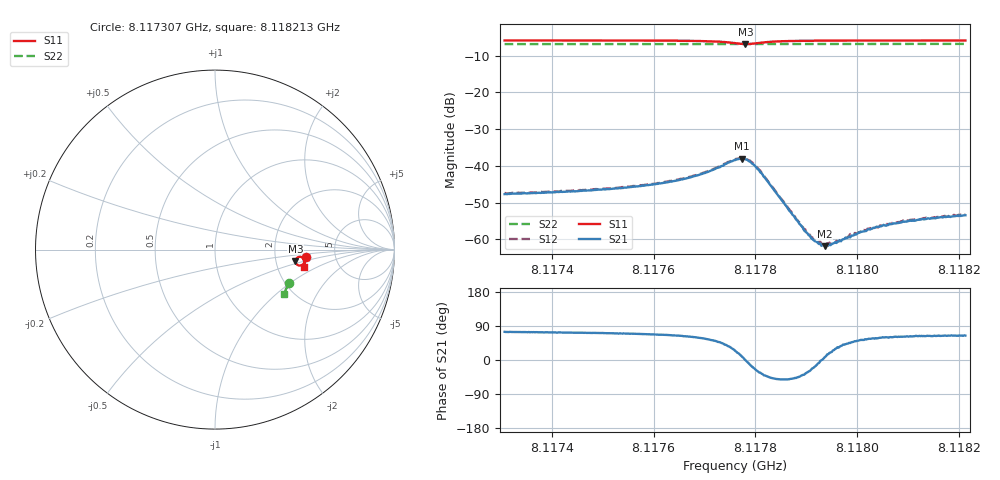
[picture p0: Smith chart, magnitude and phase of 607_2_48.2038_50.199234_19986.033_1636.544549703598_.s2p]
#  HZ  S  RI  R  50.00
! Rohde & Schwarz Vector Network Analyzer
! Rohde-Schwarz,ZNB20-2Port,1311601062101988,3.16
! Created: UTC 3/20/2024, 12:03:15 PM
! freq[Hz]  re:S11  im:S11  re:S21  im:S21  re:S12  im:S12  re:S22  im:S22
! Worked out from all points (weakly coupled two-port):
!   401 points, 8.117307 GHz to 8.118213 GHz, reference 50 ohm
!   highest |S21| = -38.03 dB at 8.117774 GHz (marker M1); lowest = -61.8 dB at 8.117937 GHz (marker M2)
!   lowest |S11| = -6.9 dB at 8.11778 GHz (marker M3), VSWR 2.65, Z = 129 - j20.7 ohm
!   |S11| at or under -10 dB: nowhere
!   |S22| runs from -6.9 to -6.8 dB; largest |S21 - S12| = 0.00047
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8.1173072e9  0.5055 -0.0386  0.00112 0.00398  0.00118 0.00411  0.4108 -0.1888
8.1174589e9  0.5037 -0.052  0.00142 0.00435  0.00147 0.00443  0.4068 -0.1986
8.1175404e9  0.5019 -0.06  0.00171 0.00471  0.00182 0.00482  0.4044 -0.2039
8.1176106e9  0.4996 -0.0682  0.00228 0.00531  0.00232 0.00535  0.4024 -0.2083
8.1176853e9  0.4928 -0.0799  0.00377 0.00634  0.00384 0.0065  0.3996 -0.2133
8.11776e9  0.4586 -0.0845  0.0109 0.00502  0.011 0.0052  0.3958 -0.2177
8.1177736e9  0.4496 -0.0722  0.0124 0.00207  0.0126 0.00211  0.3953 -0.2177
8.1177804e9  0.4481 -0.0638  0.0123 -5.65e-05  0.0125 1.52e-05  0.3951 -0.2178
8.117794e9  0.4549 -0.0479  0.0101 -0.00328  0.0105 -0.00353  0.3951 -0.2179
8.1178076e9  0.4674 -0.0406  0.00726 -0.00469  0.00748 -0.00479  0.3955 -0.2185
8.1178914e9  0.4978 -0.0591  0.00115 -0.000981  0.00113 -0.001  0.394 -0.2247
8.1179118e9  0.4988 -0.0631  0.000941 -0.000384  0.000995 -0.000411  0.3934 -0.2261
8.1179185e9  0.4991 -0.0643  0.000905 -0.00025  0.00091 -0.000288  0.3931 -0.2267
8.1179276e9  0.4992 -0.0658  0.000881 -4.07e-05  0.000941 -8.06e-05  0.3928 -0.2273
8.1179367e9  0.4994 -0.0671  0.000803 0.000108  0.000858 0.000118  0.3926 -0.2278
8.117948e9  0.4996 -0.0689  0.000787 0.000284  0.000813 0.000315  0.3922 -0.2286
8.1179616e9  0.4997 -0.0708  0.000768 0.000513  0.000792 0.000523  0.3917 -0.2293
8.117991e9  0.4997 -0.0745  0.000769 0.000831  0.00079 0.000883  0.3906 -0.2313
8.1180227e9  0.4995 -0.0782  0.000771 0.00114  0.000826 0.00112  0.3896 -0.2332
8.1180635e9  0.4991 -0.0824  0.000826 0.00142  0.000802 0.0014  0.3882 -0.2358
8.1181337e9  0.4982 -0.0888  0.000865 0.00168  0.000892 0.00174  0.3858 -0.2401
8.1182129e9  0.4971 -0.0959  0.000923 0.00192  0.000938 0.00198  0.3831 -0.2451
